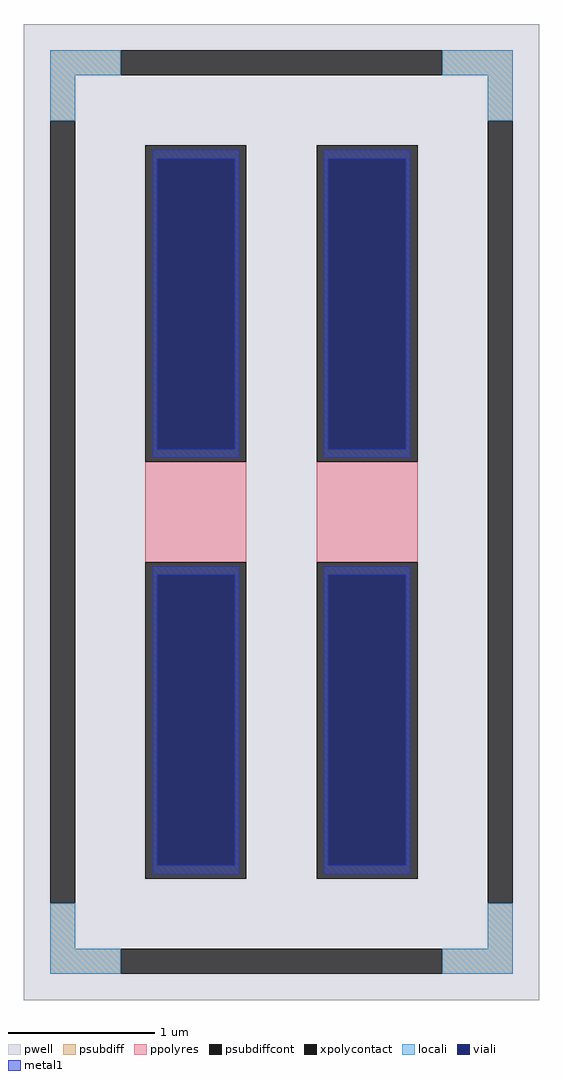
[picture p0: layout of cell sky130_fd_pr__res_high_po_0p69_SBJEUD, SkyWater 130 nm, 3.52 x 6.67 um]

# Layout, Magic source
magic
tech sky130A
magscale 1 2
<< pwell >>
rect -352 -667 352 667
<< psubdiff >>
rect -316 597 -220 631
rect 220 597 316 631
rect -316 535 -282 597
rect 282 535 316 597
rect -316 -597 -282 -535
rect 282 -597 316 -535
rect -316 -631 -220 -597
rect 220 -631 316 -597
<< psubdiffcont >>
rect -220 597 220 631
rect -316 -535 -282 535
rect 282 -535 316 535
rect -220 -631 220 -597
<< xpolycontact >>
rect -186 69 -48 501
rect -186 -501 -48 -69
rect 48 69 186 501
rect 48 -501 186 -69
<< ppolyres >>
rect -186 -69 -48 69
rect 48 -69 186 69
<< locali >>
rect -316 597 -220 631
rect 220 597 316 631
rect -316 535 -282 597
rect 282 535 316 597
rect -316 -597 -282 -535
rect 282 -597 316 -535
rect -316 -631 -220 -597
rect 220 -631 316 -597
<< viali >>
rect -170 86 -64 483
rect 64 86 170 483
rect -170 -483 -64 -86
rect 64 -483 170 -86
<< metal1 >>
rect -176 483 -58 495
rect -176 86 -170 483
rect -64 86 -58 483
rect -176 74 -58 86
rect 58 483 176 495
rect 58 86 64 483
rect 170 86 176 483
rect 58 74 176 86
rect -176 -86 -58 -74
rect -176 -483 -170 -86
rect -64 -483 -58 -86
rect -176 -495 -58 -483
rect 58 -86 176 -74
rect 58 -483 64 -86
rect 170 -483 176 -86
rect 58 -495 176 -483
<< properties >>
string FIXED_BBOX -299 -614 299 614
string gencell sky130_fd_pr__res_high_po_0p69
string library sky130
string parameters w 0.69 l 0.69 m 1 nx 2 wmin 0.690 lmin 0.50 rho 319.8 val 884.495 dummy 0 dw 0.0 term 194.82 sterm 0.0 caplen 0 guard 1 glc 1 grc 1 gtc 1 gbc 1 compatible {sky130_fd_pr__res_high_po_0p35  sky130_fd_pr__res_high_po_0p69 sky130_fd_pr__res_high_po_1p41  sky130_fd_pr__res_high_po_2p85 sky130_fd_pr__res_high_po_5p73} snake 0 full_metal 1 wmax 0.690 n_guard 0 hv_guard 0 vias 1 viagb 0 viagt 0 viagl 0 viagr 0
<< end >>
